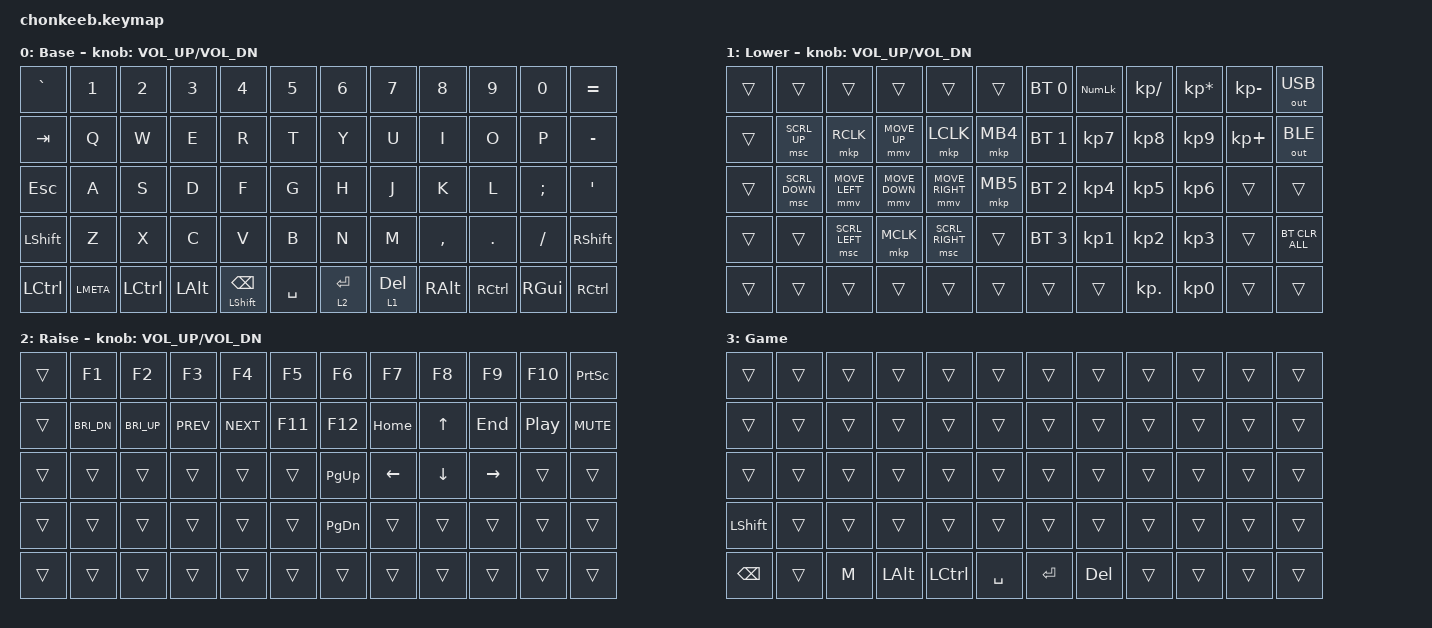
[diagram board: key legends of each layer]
/*
 * Copyright (c) 2020 The ZMK Contributors
 * SPDX-License-Identifier: MIT
 */

#define ZMK_POINTING_DEFAULT_MOVE_VAL 1200
#define ZMK_POINTING_DEFAULT_SCRL_VAL 20

#include <behaviors.dtsi>
#include <dt-bindings/zmk/bt.h>
#include <dt-bindings/zmk/keys.h>
#include <dt-bindings/zmk/outputs.h>
#include <dt-bindings/zmk/pointing.h>

/ {
    combos {
        compatible = "zmk,combos";

        to_default {
            bindings = <&to 0>;
            key-positions = <0 1>;
        };

        tog_game {
            bindings = <&tog 3>;
            key-positions = <0 2>;
        };

        undo {
            bindings = <&kp LC(Z)>;
            key-positions = <37 38>;
            layers = <0>;
        };

        cut {
            bindings = <&kp LC(X)>;
            key-positions = <38 39>;
            layers = <0>;
        };

        copy {
            bindings = <&kp LC(C)>;
            key-positions = <39 40>;
            layers = <0>;
        };

        paste {
            bindings = <&kp LC(V)>;
            key-positions = <40 41>;
            layers = <0>;
        };

        // Modern Smart Caps Word
        caps_word {
            bindings = <&caps_word>;
            key-positions = <53 54>;
            layers = <0>;
        };

        lbkrt {
            bindings = <&kp LEFT_BRACKET>;
            key-positions = <17 29>;
            layers = <0>;
        };

        rbrkt {
            bindings = <&kp RIGHT_BRACKET>;
            key-positions = <18 30>;
            layers = <0>;
        };

        lbrace {
            bindings = <&kp LEFT_BRACE>;
            key-positions = <16 28>;
            layers = <0>;
        };

        rbrace {
            bindings = <&kp RIGHT_BRACE>;
            key-positions = <19 31>;
            layers = <0>;
        };

        lessthan {
            bindings = <&kp LESS_THAN>;
            key-positions = <41 29>;
            layers = <0>;
        };

        greaterthan {
            bindings = <&kp GREATER_THAN>;
            key-positions = <30 42>;
            layers = <0>;
        };

        fslash {
            bindings = <&kp SLASH>;
            key-positions = <42 31>;
            layers = <0>;
        };

        bslash {
            bindings = <&kp BACKSLASH>;
            key-positions = <28 41>;
            layers = <0>;
        };

        underscore {
            bindings = <&kp UNDERSCORE>;
            key-positions = <42 43>;
            layers = <0>;
        };

        pipe {
            bindings = <&kp PIPE>;
            key-positions = <46 34>;
            layers = <0>;
        };

        colon {
            bindings = <&kp COLON>;
            key-positions = <30 54>;
            layers = <0>;
        };

        semicolon {
            bindings = <&kp SEMICOLON>;
            key-positions = <42 54>;
            layers = <0>;
        };

        dash {
            bindings = <&kp MINUS>;
            key-positions = <30 31>;
            layers = <0>;
        };

        equals {
            bindings = <&kp EQUAL>;
            key-positions = <18 19>;
            layers = <0>;
        };

        comma {
            bindings = <&kp COMMA>;
            key-positions = <19 20>;
            layers = <0>;
        };

        dot {
            bindings = <&kp DOT>;
            key-positions = <31 32>;
            layers = <0>;
        };
    };

    behaviors {
        // Optimizations for fast, fluid typing without miss-taps
        sft_t: sft_t {
            compatible = "zmk,behavior-hold-tap";
            bindings = <&kp>, <&kp>;

            #binding-cells = <2>;
            tapping-term-ms = <175>;
            quick-tap-ms = <150>;
            require-prior-idle-ms = <125>;
            flavor = "balanced";
        };
    };

    keymap {
        compatible = "zmk,keymap";

        Base {
            bindings = <
&kp GRAVE       &kp N1     &kp N2     &kp N3    &kp N4             &kp N5     &kp N6     &kp N7        &kp N8     &kp N9     &kp N0         &kp EQUAL
&kp TAB         &kp Q      &kp W      &kp E     &kp R              &kp T      &kp Y      &kp U         &kp I      &kp O      &kp P          &kp MINUS
&kp ESC         &kp A      &kp S      &kp D     &kp F              &kp G      &kp H      &kp J         &kp K      &kp L      &kp SEMI       &kp SQT
&kp LEFT_SHIFT  &kp Z      &kp X      &kp C     &kp V              &kp B      &kp N      &kp M         &kp COMMA  &kp DOT    &kp FSLH       &kp RIGHT_SHIFT
&kp LCTRL       &kp LMETA  &kp LCTRL  &kp LALT  &sft_t LSHFT BSPC  &kp SPACE  &lt 2 RET  &lt 1 DELETE  &kp RALT   &kp RCTRL  &kp RIGHT_GUI  &kp RCTRL
            >;

            sensor-bindings = <&inc_dec_kp C_VOL_UP C_VOL_DN>;
        };

        Lower {
            bindings = <
&trans  &trans          &trans          &trans          &trans           &trans    &bt BT_SEL 0  &kp KP_NUMLOCK  &kp KP_SLASH  &kp KP_MULTIPLY  &kp KP_MINUS  &out OUT_USB
&trans  &msc SCRL_UP    &mkp RCLK       &mmv MOVE_UP    &mkp LCLK        &mkp MB4  &bt BT_SEL 1  &kp KP_N7       &kp KP_N8     &kp KP_NUMBER_9  &kp KP_PLUS   &out OUT_BLE
&trans  &msc SCRL_DOWN  &mmv MOVE_LEFT  &mmv MOVE_DOWN  &mmv MOVE_RIGHT  &mkp MB5  &bt BT_SEL 2  &kp KP_N4       &kp KP_N5     &kp KP_NUMBER_6  &trans        &trans
&trans  &trans          &msc SCRL_LEFT  &mkp MCLK       &msc SCRL_RIGHT  &trans    &bt BT_SEL 3  &kp KP_N1       &kp KP_N2     &kp KP_N3        &trans        &bt BT_CLR_ALL
&trans  &trans          &trans          &trans          &trans           &trans    &trans        &trans          &kp KP_DOT    &kp KP_N0        &trans        &trans
            >;

            sensor-bindings = <&inc_dec_kp C_VOL_UP C_VOL_DN>;
        };

        Raise {
            bindings = <
&trans  &kp F1        &kp F2        &kp F3        &kp F4        &kp F5   &kp F6     &kp F7        &kp F8        &kp F9        &kp F10      &kp PRINTSCREEN
&trans  &kp C_BRI_DN  &kp C_BRI_UP  &kp C_PREV    &kp C_NEXT    &kp F11  &kp F12    &kp HOME      &kp UP        &kp END       &kp C_PP     &kp C_MUTE
&trans  &trans        &trans        &trans        &trans        &trans   &kp PG_UP  &kp LEFT      &kp DOWN      &kp RIGHT     &trans       &trans
&trans  &trans        &trans        &trans        &trans        &trans   &kp PG_DN  &trans        &trans        &trans        &trans       &trans
&trans  &trans        &trans        &trans        &trans        &trans   &trans     &trans        &trans        &trans        &trans       &trans
            >;

            sensor-bindings = <&inc_dec_kp C_VOL_UP C_VOL_DN>;
        };

        Game {
            bindings = <
&trans     &trans  &trans  &trans        &trans     &trans     &trans     &trans   &trans  &trans  &trans  &trans
&trans     &trans  &trans  &trans        &trans     &trans     &trans     &trans   &trans  &trans  &trans  &trans
&trans     &trans  &trans  &trans        &trans     &trans     &trans     &trans   &trans  &trans  &trans  &trans
&kp LSHFT  &trans  &trans  &trans        &trans     &trans     &trans     &trans   &trans  &trans  &trans  &trans
&kp BSPC   &trans  &kp M   &kp LEFT_ALT  &kp LCTRL  &kp SPACE  &kp ENTER  &kp DEL  &trans  &trans  &trans  &trans
            >;
        };
    };
};

&mmv {
    acceleration-exponent = <1>;
    time-to-max-speed-ms = <300>;
    delay-ms = <0>;
};

&msc {
    acceleration-exponent = <1>;
    time-to-max-speed-ms = <300>;
    delay-ms = <0>;
};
